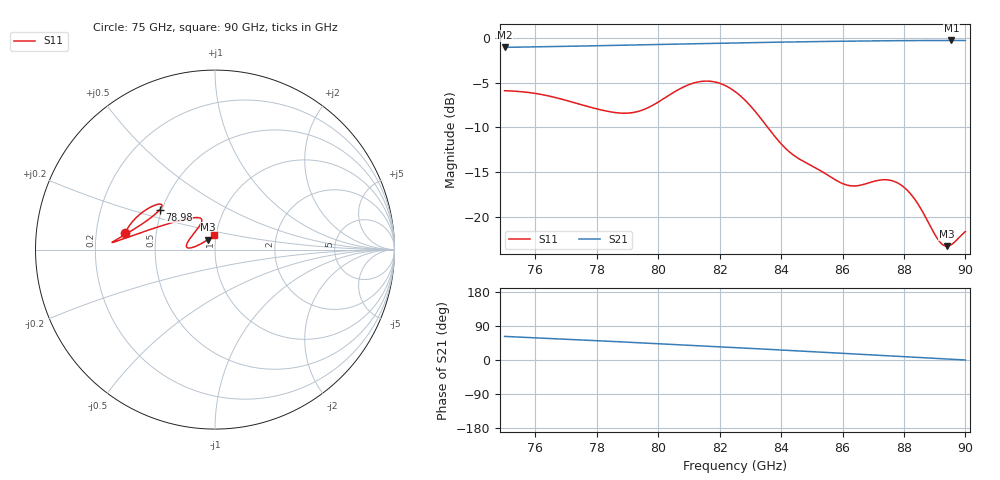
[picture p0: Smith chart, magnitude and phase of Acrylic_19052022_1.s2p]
!SWISSto12 MCK measurement data
!name=Acrylic_19052022_1
!thickness[mm]=2.000
# GHz S RI R 50.0
!freq ReS11 ImS11 ReS21 ImS21 ReS12 ImS12 ReS22 ImS22
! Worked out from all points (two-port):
!   961 points, 75 GHz to 90 GHz, reference 50 ohm
!   highest |S21| = -0.25 dB at 89.55 GHz (marker M1); lowest = -1.0 dB at 75 GHz (marker M2)
!   |S21| within 3 dB of the highest: start of sweep to end of sweep
!   lowest |S11| = -23.3 dB at 89.39 GHz (marker M3), VSWR 1.15, Z = 46 + j5.2 ohm
!   |S11| at or under -10 dB: 83.57 GHz to end of sweep
!   S12 and S22 are empty: the file has one direction only
!   S11 on the Smith chart (normalised r, x): 75 GHz: 0.33, +0.08; 78.98 GHz: 0.49, +0.25; 90 GHz: 0.98, +0.16
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75  -0.4992 0.093  0.4137 0.7863  0 0  0 0
76.14062  -0.4599 0.1556  0.4731 0.7597  0 0  0 0
77.5  -0.3475 0.2423  0.5437 0.7218  0 0  0 0
78.29688  -0.2989 0.2517  0.5861 0.6952  0 0  0 0
78.98438  -0.3079 0.2225  0.6226 0.6697  0 0  0 0
80  -0.4166 0.1359  0.6751 0.6281  0 0  0 0
80.82812  -0.5288 0.0678  0.7157 0.5912  0 0  0 0
81.39062  -0.5703 0.0431  0.742 0.5647  0 0  0 0
81.9375  -0.5616 0.0424  0.7668 0.5377  0 0  0 0
82.5  -0.4983 0.0643  0.7913 0.5084  0 0  0 0
83.01562  -0.403 0.0977  0.8129 0.4803  0 0  0 0
84.14062  -0.1739 0.1675  0.8567 0.414  0 0  0 0
85  -0.0809 0.1748  0.8867 0.3591  0 0  0 0
85.53125  -0.0754 0.1525  0.9033 0.3235  0 0  0 0
86.21875  -0.1077 0.1031  0.9225 0.2759  0 0  0 0
87.5  -0.1593 0.0181  0.9501 0.1844  0 0  0 0
87.85938  -0.1517 0.00959  0.9559 0.1584  0 0  0 0
88.1875  -0.1353 0.00964  0.9604 0.1346  0 0  0 0
89.10938  -0.0613 0.0419  0.9689 0.067  0 0  0 0
89.39062  -0.0385 0.0562  0.9702 0.046  0 0  0 0
89.54688  -0.0274 0.064  0.9708 0.0343  0 0  0 0
90  -0.0042 0.0823  0.9712 -8.82e-05  0 0  0 0
